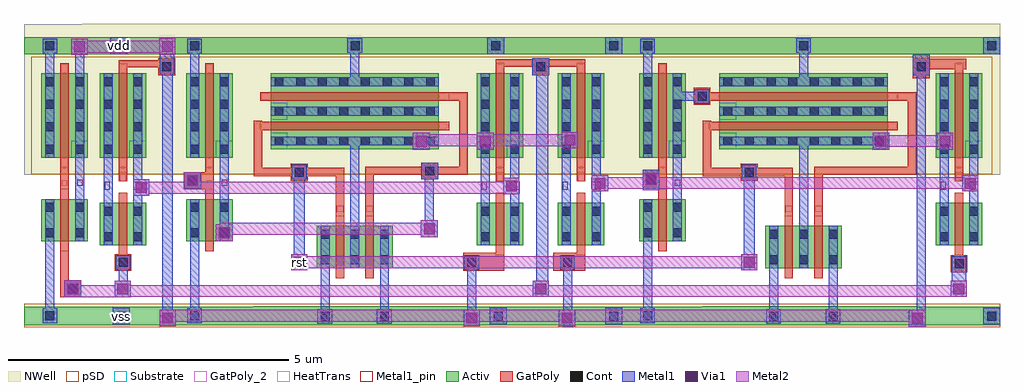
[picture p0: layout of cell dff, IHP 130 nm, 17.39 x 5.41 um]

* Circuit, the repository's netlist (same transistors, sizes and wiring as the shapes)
* Extracted by KLayout with SG13G2 LVS runset on : 31/03/2026 22:08

.SUBCKT dff
M$1 \$1 \$6 \$22 \$1 sg13_lv_nmos L=0.15u W=0.75u AS=0.255p AD=0.1425p PS=2.18u
+ PD=1.13u
M$2 \$22 \$12 \$1 \$1 sg13_lv_nmos L=0.15u W=0.75u AS=0.1425p AD=0.255p
+ PS=1.13u PD=2.18u
M$3 \$1 \$6 \$25 \$1 sg13_lv_nmos L=0.15u W=0.75u AS=0.255p AD=0.1425p PS=2.18u
+ PD=1.13u
M$4 \$25 \$13 \$1 \$1 sg13_lv_nmos L=0.15u W=0.75u AS=0.1425p AD=0.255p
+ PS=1.13u PD=2.18u
M$5 \$4 \$3 \$5 \$1 sg13_lv_nmos L=0.15u W=0.75u AS=0.255p AD=0.255p PS=2.18u
+ PD=2.18u
M$6 \$22 \$2 \$5 \$1 sg13_lv_nmos L=0.15u W=0.75u AS=0.255p AD=0.255p PS=2.18u
+ PD=2.18u
M$7 \$22 \$2 \$7 \$1 sg13_lv_nmos L=0.15u W=0.75u AS=0.255p AD=0.255p PS=2.18u
+ PD=2.18u
M$8 \$25 \$3 \$7 \$1 sg13_lv_nmos L=0.15u W=0.75u AS=0.255p AD=0.255p PS=2.18u
+ PD=2.18u
M$9 \$1 \$3 \$2 \$1 sg13_lv_nmos L=0.15u W=0.75u AS=0.255p AD=0.255p PS=2.18u
+ PD=2.18u
M$10 \$1 \$5 \$12 \$1 sg13_lv_nmos L=0.15u W=0.75u AS=0.255p AD=0.255p PS=2.18u
+ PD=2.18u
M$11 \$1 \$7 \$13 \$1 sg13_lv_nmos L=0.15u W=0.75u AS=0.255p AD=0.255p PS=2.18u
+ PD=2.18u
M$12 \$22 \$6 \$23 \$21 sg13_lv_pmos L=0.15u W=3u AS=1.02p AD=0.57p PS=6.68u
+ PD=3.38u
M$13 \$23 \$12 \$21 \$21 sg13_lv_pmos L=0.15u W=3u AS=0.57p AD=1.02p PS=3.38u
+ PD=6.68u
M$14 \$25 \$6 \$24 \$21 sg13_lv_pmos L=0.15u W=3u AS=1.02p AD=0.57p PS=6.68u
+ PD=3.38u
M$15 \$24 \$13 \$21 \$21 sg13_lv_pmos L=0.15u W=3u AS=0.57p AD=1.02p PS=3.38u
+ PD=6.68u
M$16 \$21 \$3 \$2 \$21 sg13_lv_pmos L=0.15u W=1.5u AS=0.51p AD=0.51p PS=3.68u
+ PD=3.68u
M$17 \$4 \$2 \$5 \$21 sg13_lv_pmos L=0.15u W=1.5u AS=0.51p AD=0.51p PS=3.68u
+ PD=3.68u
M$18 \$21 \$5 \$12 \$21 sg13_lv_pmos L=0.15u W=1.5u AS=0.51p AD=0.51p PS=3.68u
+ PD=3.68u
M$19 \$22 \$3 \$5 \$21 sg13_lv_pmos L=0.15u W=1.5u AS=0.51p AD=0.51p PS=3.68u
+ PD=3.68u
M$20 \$22 \$3 \$7 \$21 sg13_lv_pmos L=0.15u W=1.5u AS=0.51p AD=0.51p PS=3.68u
+ PD=3.68u
M$21 \$21 \$7 \$13 \$21 sg13_lv_pmos L=0.15u W=1.5u AS=0.51p AD=0.51p PS=3.68u
+ PD=3.68u
M$22 \$25 \$2 \$7 \$21 sg13_lv_pmos L=0.15u W=1.5u AS=0.51p AD=0.51p PS=3.68u
+ PD=3.68u
.ENDS dff

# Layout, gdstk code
from math import pi, radians
import gdstk
lib = gdstk.Library(unit=1e-6, precision=5e-09)
def R(c, l, rs):  # rectangles x0, y0, x1, y1
    for r in rs: c.add(gdstk.rectangle(r[:2], r[2:], *l))
def A(c, l, x, y, w, h, nx, ny, dx, dy):  # array of equal rectangles
    R(c, l, [(x+i*dx, y+j*dy, x+i*dx+w, y+j*dy+h) for i in range(nx) for j in range(ny)])
def P(c, l, *ps):  # polygons
    for p in ps: c.add(gdstk.Polygon(p, *l))
Activ = (1, 0)
GatPoly = (5, 0)
GatPoly_2 = (5, 2)
Cont = (6, 0)
Metal1 = (8, 0)
Metal1_pin = (8, 2)
Metal2 = (10, 0)
pSD = (14, 0)
Via1 = (19, 0)
NWell = (31, 0)
Substrate = (40, 0)
HeatTrans = (51, 0)

nmos_5_2 = lib.new_cell('nmos$5$2')
R(nmos_5_2, Activ, [(0,0,0.3,0.3), (0,0,0.83,0.75), (0.53,0,0.83,0.3)])
R(nmos_5_2, GatPoly, [(0.34,-0.18,0.49,0.93)])
R(nmos_5_2, GatPoly_2, [(0.34,-0.18,0.49,0.93)])
R(nmos_5_2, Cont, [(0.07,0.07,0.23,0.23), (0.6,0.07,0.76,0.23), (0.07,0.52,0.23,0.68), (0.6,0.52,0.76,0.68)])
R(nmos_5_2, Metal1, [(0.07,0,0.23,0.75), (0.6,0,0.76,0.75)])
R(nmos_5_2, Metal1_pin, [(0.07,0,0.23,0.75), (0.6,0,0.76,0.75)])
R(nmos_5_2, HeatTrans, [(0.34,-0.18,0.49,0.93)])
nmos_5_2.add(gdstk.Label('nmos', (0.415,0.375), layer=63, texttype=0))
nmos_5_2.add(gdstk.Label('nmos', (0.415,0.375), layer=51, texttype=0))

pmos_5_1 = lib.new_cell('pmos$5$1')
R(pmos_5_1, Activ, [(0,0,0.3,0.3), (0,0,0.83,3), (0.53,0,0.83,0.3)])
R(pmos_5_1, GatPoly, [(0.34,-0.18,0.49,3.18), (0.34,-0.18,0.49,3.18)])
A(pmos_5_1, Cont, 0.07, 0.07, 0.16, 0.16, 1, 7, 0, 0.385)
A(pmos_5_1, Cont, 0.6, 0.07, 0.16, 0.16, 1, 7, 0, 0.385)
R(pmos_5_1, Cont, [(0.07,2.77,0.23,2.93), (0.6,2.77,0.76,2.93)])
R(pmos_5_1, Metal1, [(0.07,0,0.23,3), (0.07,0,0.23,3), (0.6,0,0.76,3), (0.6,0,0.76,3)])
R(pmos_5_1, pSD, [(-0.18,-0.3,1.01,3.3)])
R(pmos_5_1, NWell, [(-0.31,-0.31,1.14,3.31)])
R(pmos_5_1, Substrate, [(0.53,0,0.83,0.3)])
R(pmos_5_1, HeatTrans, [(0.34,-0.18,0.49,3.18)])
pmos_5_1.add(gdstk.Label('pmos', (0.415,1.5), layer=63, texttype=0))
pmos_5_1.add(gdstk.Label('pmos', (0.415,1.5), layer=51, texttype=0))

norgate_1 = lib.new_cell('norgate$1')
R(norgate_1, Activ, [(-1.48,-2.5,2.355,-2.17), (-1.47,2.325,2.355,2.625)])
R(norgate_1, GatPoly, [(-0.01,-0.56,0.14,0.15), (0.52,-0.56,0.67,0.17), (-1.47,0.15,0.14,0.3), (0.52,0.17,2.19,0.32), (2.19,0.17,2.34,1.645), (-1.47,0.3,-1.32,1.135), (-1.47,0.965,-1.35,1.135), (2.01,1.495,2.19,1.645)])
R(norgate_1, GatPoly_2, [(0.005,-0.49,0.13,-0.38), (0.535,-0.49,0.66,-0.38)])
R(norgate_1, Cont, [(-0.28,-2.43,-0.12,-2.27), (-0.28,-2.43,-0.12,-2.27), (0.78,-2.43,0.94,-2.27), (0.78,-2.43,0.94,-2.27), (0.255,2.395,0.415,2.555)])
R(norgate_1, Metal1, [(-0.335,-2.48,-0.075,-2.22), (0.725,-2.48,0.985,-2.22), (-0.28,-2.43,-0.12,-0.74), (0.78,-2.43,0.94,-0.74), (0.25,-0.74,0.41,0.695), (0.25,1.915,0.41,2.345), (0.2,2.345,0.46,2.605)])
R(norgate_1, Metal1_pin, [(-0.25,-2.39,-0.17,-2.3), (0.81,-2.39,0.89,-2.3), (0.255,2.395,0.415,2.555)])
R(norgate_1, pSD, [(-1.48,-2.54,2.355,-2.125)])
R(norgate_1, NWell, [(-1.47,0.315,2.355,2.865), (-1.47,2.295,2.355,2.865)])
norgate_1.add(gdstk.Reference(nmos_5_2, (1.01,-0.74), rotation=pi))
norgate_1.add(gdstk.Reference(nmos_5_2, (-0.35,-1.49)))
norgate_1.add(gdstk.Reference(pmos_5_1, (-1.17,1.985), rotation=3*pi/2))
norgate_1.add(gdstk.Reference(pmos_5_1, (-1.17,1.455), rotation=3*pi/2))
norgate_1.add(gdstk.Label('vdd', (0.325,2.5), layer=8, texttype=2))
norgate_1.add(gdstk.Label('vss', (-0.22,-2.335), layer=8, texttype=2))
norgate_1.add(gdstk.Label('vss', (0.84,-2.335), layer=8, texttype=2))
norgate_1.add(gdstk.Label('b', (0.07,-0.44), layer=5, texttype=2))
norgate_1.add(gdstk.Label('a', (0.6,-0.44), layer=5, texttype=2))

nmos_1 = lib.new_cell('nmos$1')
R(nmos_1, Activ, [(0,0,0.3,0.3), (0,0,0.83,0.75), (0.53,0,0.83,0.3)])
R(nmos_1, GatPoly, [(0.34,-0.18,0.49,0.93)])
R(nmos_1, GatPoly_2, [(0.34,-0.18,0.49,0.93)])
R(nmos_1, Cont, [(0.07,0.07,0.23,0.23), (0.6,0.07,0.76,0.23), (0.07,0.52,0.23,0.68), (0.6,0.52,0.76,0.68)])
R(nmos_1, Metal1, [(0.07,0,0.23,0.75), (0.6,0,0.76,0.75)])
R(nmos_1, Metal1_pin, [(0.07,0,0.23,0.75), (0.6,0,0.76,0.75)])
R(nmos_1, HeatTrans, [(0.34,-0.18,0.49,0.93)])
nmos_1.add(gdstk.Label('nmos', (0.415,0.375), layer=63, texttype=0))
nmos_1.add(gdstk.Label('nmos', (0.415,0.375), layer=51, texttype=0))

pmos_2 = lib.new_cell('pmos$2')
R(pmos_2, Activ, [(0,0,0.3,0.3), (0,0,0.83,1.5), (0.53,0,0.83,0.3)])
R(pmos_2, GatPoly, [(0.34,-0.18,0.49,1.68), (0.34,-0.18,0.49,1.68)])
A(pmos_2, Cont, 0.07, 0.07, 0.16, 0.16, 1, 4, 0, 0.4)
A(pmos_2, Cont, 0.6, 0.07, 0.16, 0.16, 1, 4, 0, 0.4)
R(pmos_2, Metal1, [(0.07,0,0.23,1.5), (0.07,0,0.23,1.5), (0.6,0,0.76,1.5), (0.6,0,0.76,1.5)])
R(pmos_2, pSD, [(-0.18,-0.3,1.01,1.8)])
R(pmos_2, NWell, [(-0.31,-0.31,1.14,1.81)])
R(pmos_2, Substrate, [(0.53,0,0.83,0.3)])
R(pmos_2, HeatTrans, [(0.34,-0.18,0.49,1.68)])
pmos_2.add(gdstk.Label('pmos', (0.415,0.75), layer=63, texttype=0))
pmos_2.add(gdstk.Label('pmos', (0.415,0.75), layer=51, texttype=0))

inverter_1 = lib.new_cell('inverter$1')
R(inverter_1, Activ, [(-0.925,-2.62,0.525,-2.29), (-0.925,2.205,0.525,2.505)])
R(inverter_1, GatPoly, [(-0.275,-0.195,-0.125,0.185)])
R(inverter_1, GatPoly_2, [(-0.25,-0.14,-0.155,-0.04)])
R(inverter_1, Cont, [(-0.545,-2.535,-0.385,-2.375), (-0.545,-2.535,-0.385,-2.375), (-0.545,2.275,-0.385,2.435)])
R(inverter_1, Metal1, [(-0.595,-2.585,-0.335,-2.325), (-0.545,-2.325,-0.385,-0.845), (-0.015,-0.375,0.145,0.365), (-0.545,1.865,-0.385,2.275), (-0.595,2.225,-0.335,2.485)])
R(inverter_1, Metal1_pin, [(0.02,-0.135,0.12,-0.03)])
R(inverter_1, pSD, [(-0.925,-2.66,0.525,-2.245)])
R(inverter_1, NWell, [(-0.925,2.175,0.525,2.745)])
inverter_1.add(gdstk.Reference(nmos_1, (-0.615,-1.125)))
inverter_1.add(gdstk.Reference(pmos_2, (-0.615,0.365)))
inverter_1.add(gdstk.Label('vss', (-0.475,-2.43), layer=8, texttype=2))
inverter_1.add(gdstk.Label('vdd', (-0.465,2.355), layer=8, texttype=2))
inverter_1.add(gdstk.Label('out', (0.06,-0.09), layer=8, texttype=2))
inverter_1.add(gdstk.Label('in', (-0.205,-0.09), layer=5, texttype=2))

nmos_5_3 = lib.new_cell('nmos$5$3')
R(nmos_5_3, Activ, [(0,0,0.3,0.3), (0,0,0.83,0.75), (0.53,0,0.83,0.3)])
R(nmos_5_3, GatPoly, [(0.34,-0.18,0.49,0.93)])
R(nmos_5_3, GatPoly_2, [(0.34,-0.18,0.49,0.93)])
R(nmos_5_3, Cont, [(0.07,0.07,0.23,0.23), (0.6,0.07,0.76,0.23), (0.07,0.52,0.23,0.68), (0.6,0.52,0.76,0.68)])
R(nmos_5_3, Metal1, [(0.07,0,0.23,0.75), (0.6,0,0.76,0.75)])
R(nmos_5_3, Metal1_pin, [(0.07,0,0.23,0.75), (0.6,0,0.76,0.75)])
R(nmos_5_3, HeatTrans, [(0.34,-0.18,0.49,0.93)])
nmos_5_3.add(gdstk.Label('nmos', (0.415,0.375), layer=63, texttype=0))
nmos_5_3.add(gdstk.Label('nmos', (0.415,0.375), layer=51, texttype=0))

pmos_3 = lib.new_cell('pmos$3')
R(pmos_3, Activ, [(0,0,0.3,0.3), (0,0,0.83,1.5), (0.53,0,0.83,0.3)])
R(pmos_3, GatPoly, [(0.34,-0.18,0.49,1.68), (0.34,-0.18,0.49,1.68)])
A(pmos_3, Cont, 0.07, 0.07, 0.16, 0.16, 1, 4, 0, 0.4)
A(pmos_3, Cont, 0.6, 0.07, 0.16, 0.16, 1, 4, 0, 0.4)
R(pmos_3, Metal1, [(0.07,0,0.23,1.5), (0.07,0,0.23,1.5), (0.6,0,0.76,1.5), (0.6,0,0.76,1.5)])
R(pmos_3, pSD, [(-0.18,-0.3,1.01,1.8)])
R(pmos_3, NWell, [(-0.31,-0.31,1.14,1.81)])
R(pmos_3, Substrate, [(0.53,0,0.83,0.3)])
R(pmos_3, HeatTrans, [(0.34,-0.18,0.49,1.68)])
pmos_3.add(gdstk.Label('pmos', (0.415,0.75), layer=63, texttype=0))
pmos_3.add(gdstk.Label('pmos', (0.415,0.75), layer=51, texttype=0))

transmissiongate_1 = lib.new_cell('transmissiongate$1')
R(transmissiongate_1, Activ, [(2.295,-2.62,3.745,-2.29), (2.315,2.205,3.745,2.505)])
R(transmissiongate_1, GatPoly, [(2.945,-0.055,3.095,0.185)])
R(transmissiongate_1, GatPoly_2, [(2.98,-0.43,3.09,-0.27), (2.96,-0.055,3.08,0.105)])
R(transmissiongate_1, Cont, [(2.91,-2.54,3.07,-2.38), (2.86,2.275,3.02,2.435)])
R(transmissiongate_1, Metal1, [(2.91,-2.54,3.07,-2.38), (2.91,-2.54,3.07,-2.38), (2.675,-0.445,2.835,-0.21), (3.205,-0.445,3.365,-0.21), (2.675,-0.21,2.835,0.365), (3.205,-0.21,3.365,0.365), (2.86,2.275,3.02,2.435)])
R(transmissiongate_1, Metal1_pin, [(2.91,-2.54,3.07,-2.38), (2.69,-0.21,2.785,-0.07), (3.205,-0.21,3.365,-0.07), (2.86,2.275,3.02,2.435)])
R(transmissiongate_1, pSD, [(2.295,-2.66,3.745,-2.245)])
R(transmissiongate_1, NWell, [(2.295,2.175,3.745,2.745)])
transmissiongate_1.add(gdstk.Reference(nmos_5_3, (2.605,-1.195)))
transmissiongate_1.add(gdstk.Reference(pmos_3, (2.605,0.365)))
transmissiongate_1.add(gdstk.Label('vdd', (2.93,2.38), layer=8, texttype=2))
transmissiongate_1.add(gdstk.Label('vss', (2.985,-2.46), layer=8, texttype=2))
transmissiongate_1.add(gdstk.Label('out', (3.285,-0.14), layer=8, texttype=2))
transmissiongate_1.add(gdstk.Label('in', (2.73,-0.14), layer=8, texttype=2))
transmissiongate_1.add(gdstk.Label('en', (3.015,-0.355), layer=5, texttype=2))
transmissiongate_1.add(gdstk.Label('noten', (3.025,0.02), layer=5, texttype=2))

nmos_5 = lib.new_cell('nmos$5')
R(nmos_5, Activ, [(0,0,0.3,0.3), (0,0,0.83,0.75), (0.53,0,0.83,0.3)])
R(nmos_5, GatPoly, [(0.34,-0.18,0.49,0.93)])
R(nmos_5, GatPoly_2, [(0.34,-0.18,0.49,0.93)])
R(nmos_5, Cont, [(0.07,0.07,0.23,0.23), (0.6,0.07,0.76,0.23), (0.07,0.52,0.23,0.68), (0.6,0.52,0.76,0.68)])
R(nmos_5, Metal1, [(0.07,0,0.23,0.75), (0.6,0,0.76,0.75)])
R(nmos_5, Metal1_pin, [(0.07,0,0.23,0.75), (0.6,0,0.76,0.75)])
R(nmos_5, HeatTrans, [(0.34,-0.18,0.49,0.93)])
nmos_5.add(gdstk.Label('nmos', (0.415,0.375), layer=63, texttype=0))
nmos_5.add(gdstk.Label('nmos', (0.415,0.375), layer=51, texttype=0))

pmos = lib.new_cell('pmos')
R(pmos, Activ, [(0,0,0.3,0.3), (0,0,0.83,1.5), (0.53,0,0.83,0.3)])
R(pmos, GatPoly, [(0.34,-0.18,0.49,1.68), (0.34,-0.18,0.49,1.68)])
A(pmos, Cont, 0.07, 0.07, 0.16, 0.16, 1, 4, 0, 0.4)
A(pmos, Cont, 0.6, 0.07, 0.16, 0.16, 1, 4, 0, 0.4)
R(pmos, Metal1, [(0.07,0,0.23,1.5), (0.07,0,0.23,1.5), (0.6,0,0.76,1.5), (0.6,0,0.76,1.5)])
R(pmos, pSD, [(-0.18,-0.3,1.01,1.8)])
R(pmos, NWell, [(-0.31,-0.31,1.14,1.81)])
R(pmos, Substrate, [(0.53,0,0.83,0.3)])
R(pmos, HeatTrans, [(0.34,-0.18,0.49,1.68)])
pmos.add(gdstk.Label('pmos', (0.415,0.75), layer=63, texttype=0))
pmos.add(gdstk.Label('pmos', (0.415,0.75), layer=51, texttype=0))

transmissiongate = lib.new_cell('transmissiongate')
R(transmissiongate, Activ, [(2.295,-2.62,3.745,-2.29), (2.315,2.205,3.745,2.505)])
R(transmissiongate, GatPoly, [(2.945,-0.055,3.095,0.185)])
R(transmissiongate, GatPoly_2, [(2.98,-0.43,3.09,-0.27), (2.96,-0.055,3.08,0.105)])
R(transmissiongate, Cont, [(3.52,-2.54,3.68,-2.38), (3.52,2.275,3.68,2.435)])
R(transmissiongate, Metal1, [(3.52,-2.54,3.68,-2.38), (3.52,-2.54,3.68,-2.38), (2.675,-0.445,2.835,-0.21), (3.205,-0.445,3.365,-0.21), (2.675,-0.21,2.835,0.365), (3.205,-0.21,3.365,0.365), (3.52,2.275,3.68,2.435)])
R(transmissiongate, Metal1_pin, [(3.52,-2.54,3.68,-2.38), (2.69,-0.21,2.785,-0.07), (3.205,-0.21,3.365,-0.07), (3.52,2.275,3.68,2.435)])
R(transmissiongate, pSD, [(2.295,-2.66,3.745,-2.245)])
R(transmissiongate, NWell, [(2.295,2.175,3.745,2.745)])
transmissiongate.add(gdstk.Reference(nmos_5, (2.605,-1.195)))
transmissiongate.add(gdstk.Reference(pmos, (2.605,0.365)))
transmissiongate.add(gdstk.Label('vdd', (3.59,2.38), layer=8, texttype=2))
transmissiongate.add(gdstk.Label('vss', (3.595,-2.46), layer=8, texttype=2))
transmissiongate.add(gdstk.Label('out', (3.285,-0.14), layer=8, texttype=2))
transmissiongate.add(gdstk.Label('in', (2.73,-0.14), layer=8, texttype=2))
transmissiongate.add(gdstk.Label('en', (3.015,-0.355), layer=5, texttype=2))
transmissiongate.add(gdstk.Label('noten', (3.025,0.02), layer=5, texttype=2))

dff = lib.new_cell('dff')
R(dff, Activ, [(2.745,-2.62,19.105,-2.29), (2.745,2.205,19.105,2.505)])
R(dff, GatPoly, [(2.36,-2.125,2.51,-1.305), (2.51,-2.125,2.73,-1.825), (18.225,-1.675,18.525,-1.375), (3.325,-1.655,3.625,-1.355), (9.54,-1.655,10.27,-1.33), (11.14,-1.655,11.715,-1.33), (4.555,-0.2,4.94,0.105), (12.735,-0.195,13.015,0.145), (6.465,-0.045,6.765,0.255), (14.485,-0.045,14.785,0.255), (8.79,-0.025,9.09,0.275), (13.685,1.38,13.925,1.53), (17.55,1.78,17.85,2.135), (4.105,1.835,4.405,2.135), (10.77,1.835,11.07,2.135), (17.65,1.935,18.275,2.125), (18.275,1.935,18.5,2.125), (3.4,1.97,4.14,2.1), (10.12,1.985,10.77,2.115), (11.07,1.985,11.715,2.115)])
P(dff, GatPoly, [(13.645,1.305),(13.645,1.345),(13.645,1.605),(13.945,1.605),(13.945,1.305)],
  [(10.2,-1.585),(10.2,-1.375),(10.2,-1.375),(10.2,-1.585)])
R(dff, Cont, [(3.365,-2.54,3.525,-2.38), (3.365,-2.54,3.525,-2.38), (3.365,-2.54,3.525,-2.38), (3.365,-2.54,3.525,-2.38), (2.5,-2.055,2.66,-1.895), (18.295,-1.605,18.455,-1.445), (3.395,-1.585,3.555,-1.425), (9.61,-1.585,9.77,-1.425), (11.32,-1.585,11.48,-1.425), (4.635,-0.125,4.795,0.035), (12.805,-0.105,12.965,0.055), (6.535,0.025,6.695,0.185), (14.555,0.025,14.715,0.185), (8.86,0.045,9.02,0.205), (13.715,1.375,13.875,1.535), (17.62,1.9,17.78,2.06), (4.175,1.905,4.335,2.065), (10.84,1.905,11,2.065)])
R(dff, Metal1, [(11.32,-2.66,11.48,-1.405), (17.48,-2.65,17.78,-2.35), (4.125,-2.64,4.415,-2.35), (9.545,-2.64,9.835,-2.35), (11.245,-2.64,11.535,-2.35), (3.295,-2.61,3.595,-2.31), (10.015,-2.61,10.315,-2.31), (12.07,-2.61,12.37,-2.31), (18.805,-2.61,19.105,-2.31), (17.62,-2.56,17.78,1.9), (3.365,-2.54,3.525,-2.38), (3.365,-2.54,3.525,-2.38), (3.365,-2.54,3.525,-2.38), (3.365,-2.54,3.525,-2.38), (3.365,-2.54,3.525,-2.38), (3.365,-2.54,3.525,-2.38), (3.365,-2.54,3.525,-2.38), (3.365,-2.54,3.525,-2.38), (4.175,-2.35,4.365,2.33), (9.61,-2.35,9.77,-1.375), (2.43,-2.125,2.73,-1.825), (3.325,-2.125,3.615,-1.835), (10.775,-2.12,11.065,-1.83), (10.84,-2.12,11.055,1.835), (18.225,-2.12,18.515,-1.83), (3.395,-1.835,3.555,-1.405), (18.245,-1.83,18.505,-1.395), (6.47,-1.645,6.76,-1.355), (14.49,-1.645,14.78,-1.355), (3.345,-1.635,3.605,-1.375), (9.56,-1.635,9.82,-1.375), (11.27,-1.635,11.53,-1.375), (6.52,-1.595,6.71,-0.025), (14.54,-1.595,14.73,0.185), (5.13,-1.125,5.43,-0.825), (8.785,-1.055,9.085,-0.755), (8.855,-1.055,9.015,0.205), (3.655,-0.315,3.945,-0.025), (10.25,-0.285,10.54,0.005), (11.83,-0.24,12.12,0.05), (18.43,-0.24,18.72,0.05), (4.565,-0.195,4.865,0.105), (12.735,-0.195,13.035,0.145), (12.805,-0.105,12.965,0.055), (6.485,-0.025,6.745,0.235), (8.79,-0.025,9.09,0.275), (14.505,-0.025,14.765,0.235), (8.64,0.505,8.94,0.805), (9.78,0.505,10.08,0.805), (16.835,0.505,17.135,0.805), (17.975,0.505,18.275,0.805), (11.295,0.53,11.585,0.82), (13.665,1.325,13.925,1.585), (13.275,1.375,13.875,1.535), (17.55,1.83,17.85,2.195), (10.77,1.835,11.07,2.135), (4.125,1.855,4.385,2.2), (2.62,1.865,2.78,2.195), (4.16,1.885,4.345,2.115), (17.62,1.9,17.78,2.06), (2.555,2.195,2.845,2.485), (4.12,2.2,4.41,2.49), (3.25,2.205,3.55,2.505), (9.965,2.205,10.265,2.505), (12.07,2.205,12.37,2.505), (18.805,2.205,19.105,2.505)])
R(dff, Metal1_pin, [(3.365,-2.54,3.525,-2.38), (3.365,-2.54,3.525,-2.38), (3.365,-2.54,3.525,-2.38), (3.365,-2.54,3.525,-2.38), (6.52,-1.595,6.71,-1.405), (3.315,2.275,3.475,2.435)])
R(dff, Metal2, [(17.48,-2.65,17.78,-2.35), (4.125,-2.64,4.415,-2.35), (9.545,-2.64,9.835,-2.35), (11.245,-2.64,11.535,-2.35), (4.415,-2.56,11.425,-2.35), (11.13,-2.56,17.77,-2.35), (2.43,-2.125,2.73,-1.825), (2.73,-2.125,3.325,-1.915), (3.325,-2.125,3.615,-1.835), (3.615,-2.12,18.225,-1.915), (10.775,-2.12,11.065,-1.83), (18.225,-2.12,18.515,-1.83), (6.47,-1.645,6.76,-1.355), (14.49,-1.645,14.78,-1.355), (6.76,-1.605,14.49,-1.395), (5.13,-1.125,5.43,-0.825), (8.785,-1.055,9.085,-0.755), (5.2,-1.01,9.075,-0.8), (3.655,-0.315,3.945,-0.025), (10.25,-0.285,10.54,0.005), (3.655,-0.28,10.545,-0.07), (11.83,-0.24,12.12,0.05), (18.43,-0.24,18.72,0.05), (12.735,-0.215,13.035,0.085), (11.82,-0.195,18.705,0.015), (4.57,-0.19,4.86,0.1), (8.64,0.505,8.94,0.805), (9.78,0.505,10.08,0.805), (16.835,0.505,17.135,0.805), (17.975,0.505,18.275,0.805), (11.295,0.53,11.585,0.82), (16.9,0.56,18.205,0.76), (8.685,0.57,11.295,0.78), (2.555,2.195,2.845,2.485), (4.12,2.2,4.41,2.49), (2.845,2.235,4.12,2.445)])
R(dff, pSD, [(2.745,-2.66,19.105,-2.245), (2.88,0.065,18.97,2.165)])
R(dff, Via1, [(17.535,-2.595,17.725,-2.405), (4.175,-2.59,4.365,-2.4), (9.595,-2.59,9.785,-2.4), (11.295,-2.59,11.485,-2.4), (3.375,-2.075,3.565,-1.885), (2.485,-2.07,2.675,-1.88), (10.825,-2.07,11.015,-1.88), (18.275,-2.07,18.465,-1.88), (6.52,-1.595,6.71,-1.405), (14.54,-1.595,14.73,-1.405), (5.185,-1.07,5.375,-0.88), (8.84,-1,9.03,-0.81), (3.705,-0.265,3.895,-0.075), (10.305,-0.235,10.495,-0.045), (11.88,-0.19,12.07,0), (18.48,-0.19,18.67,0), (4.62,-0.14,4.81,0.05), (12.79,-0.12,12.98,0.07), (8.695,0.56,8.885,0.75), (9.835,0.56,10.025,0.75), (16.89,0.56,17.08,0.75), (18.03,0.56,18.22,0.75), (9.85,0.575,10.01,0.735), (11.345,0.58,11.535,0.77), (2.605,2.245,2.795,2.435), (4.17,2.25,4.36,2.44)])
R(dff, NWell, [(2.745,0.055,19.105,2.75), (2.745,2.205,19.105,2.745)])
dff.add(gdstk.Reference(norgate_1, (7.275,-0.115)))
dff.add(gdstk.Reference(norgate_1, (15.275,-0.115)))
dff.add(gdstk.Reference(inverter_1, (13.29,0)))
dff.add(gdstk.Reference(transmissiongate_1, (7.175,0)))
dff.add(gdstk.Reference(transmissiongate, (8.62,0)))
dff.add(gdstk.Reference(transmissiongate, (15.355,0)))
dff.add(gdstk.Reference(transmissiongate_1, (0.455,0)))
dff.add(gdstk.Reference(inverter_1, (5.215,0)))
dff.add(gdstk.Reference(inverter_1, (2.635,0)))
dff.add(gdstk.Label('rst', (6.615,-1.5), layer=8, texttype=2))
dff.add(gdstk.Label('vss', (3.44,-2.46), layer=8, texttype=2))
dff.add(gdstk.Label('vss', (3.44,-2.46), layer=8, texttype=2))
dff.add(gdstk.Label('vss', (3.44,-2.46), layer=8, texttype=2))
dff.add(gdstk.Label('vss', (3.44,-2.46), layer=8, texttype=2))
dff.add(gdstk.Label('vdd', (3.41,2.355), layer=8, texttype=2))

lib.write_gds('dff.gds')
